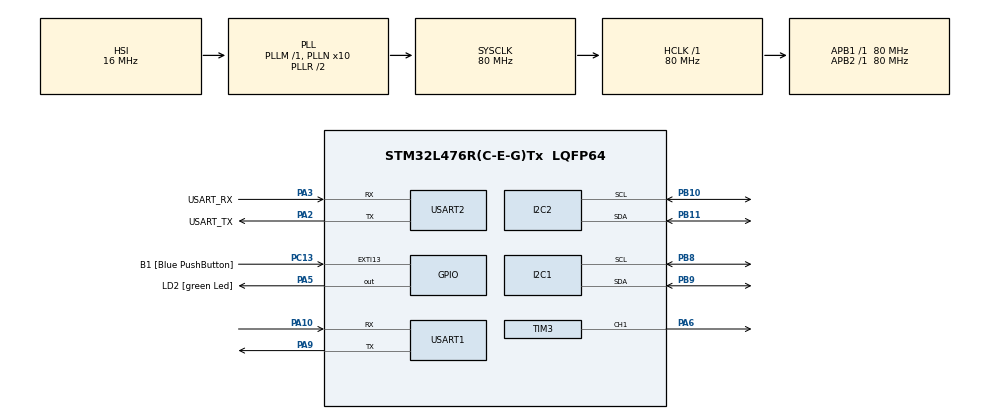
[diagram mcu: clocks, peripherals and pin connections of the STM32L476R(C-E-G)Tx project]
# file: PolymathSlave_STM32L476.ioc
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Mcu.Family=STM32L4
PA2.GPIO_PuPd=GPIO_NOPULL
VP_SYS_VS_tim6.Mode=TIM6
RCC.CortexFreq_Value=80000000
PB10.Mode=I2C
NVIC.TIM6_DAC_IRQn=true\:0\:0\:false\:false\:true\:false\:false\:true
PH0-OSC_IN\ (PH0).Signal=RCC_OSC_IN
PA3.GPIO_PuPd=GPIO_NOPULL
Dma.TIM3_CH1/TRIG.0.MemDataAlignment=DMA_MDATAALIGN_HALFWORD
I2C2.Timing=0x10909CEC
PA2.GPIO_Speed=GPIO_SPEED_FREQ_VERY_HIGH
PC13.GPIO_Label=B1 [Blue PushButton]
PA3.GPIO_Speed=GPIO_SPEED_FREQ_VERY_HIGH
PB11.Signal=I2C2_SDA
RCC.SYSCLKSource=RCC_SYSCLKSOURCE_PLLCLK
ProjectManager.StackSize=0x400
PB3\ (JTDO-TRACESWO).Signal=SYS_JTDO-SWO
PA14\ (JTCK-SWCLK).Signal=SYS_JTCK-SWCLK
RCC.HCLKFreq_Value=80000000
RCC.APB2TimFreq_Value=80000000
TIM3.Period=100 - 1
FREERTOS.configUSE_MALLOC_FAILED_HOOK=1
RCC.AHBFreq_Value=80000000
RCC.PREFETCH_ENABLE=1
TIM3.Channel-PWM\ Generation1\ CH1=TIM_CHANNEL_1
RCC.HSE_VALUE=8000000
USART2.VirtualMode-Asynchronous=VM_ASYNC
PA6.GPIO_PuPd=GPIO_PULLDOWN
Dma.TIM3_CH1/TRIG.0.PeriphDataAlignment=DMA_PDATAALIGN_HALFWORD
PA5.GPIO_PuPd=GPIO_NOPULL
Dma.TIM3_CH1/TRIG.0.Priority=DMA_PRIORITY_VERY_HIGH
PC13.GPIO_PuPd=GPIO_NOPULL
SH.S_TIM3_CH1.0=TIM3_CH1,PWM Generation1 CH1
VP_FREERTOS_VS_CMSIS_V1.Mode=CMSIS_V1
FREERTOS.configTOTAL_HEAP_SIZE=10000
Mcu.Package=LQFP64
PB9.Signal=I2C1_SDA
PA6.Signal=S_TIM3_CH1
NVIC.TimeBase=TIM6_DAC_IRQn
PA2.GPIO_Label=USART_TX
NVIC.TimeBaseIP=TIM6
PA10.Signal=USART1_RX
RCC.APB1TimFreq_Value=80000000
PA13\ (JTMS-SWDIO).Signal=SYS_JTMS-SWDIO
Dma.Request0=TIM3_CH1/TRIG
VP_TIM3_VS_ClockSourceINT.Mode=Internal
PA3.Signal=USART2_RX
PA2.GPIO_Mode=GPIO_MODE_AF_PP
RCC.MSI_VALUE=4000000
RCC.PLLSourceVirtual=RCC_PLLSOURCE_HSI
PA14\ (JTCK-SWCLK).Mode=Serial_Wire
NVIC.DMA1_Channel6_IRQn=true\:5\:0\:false\:false\:true\:true\:false\:true
FREERTOS.Tasks01=defaultTask,0,256,StartDefaultTask,Default,NULL,Dynamic,NULL,NULL
PA10.Mode=Asynchronous
PC13.Signal=GPXTI13
FREERTOS.INCLUDE_vTaskDelayUntil=1
FREERTOS.configCHECK_FOR_STACK_OVERFLOW=2
Dma.TIM3_CH1/TRIG.0.PeriphInc=DMA_PINC_DISABLE
Dma.TIM3_CH1/TRIG.0.MemInc=DMA_MINC_ENABLE
PC15-OSC32_OUT\ (PC15).Signal=RCC_OSC32_OUT
PA14\ (JTCK-SWCLK).GPIO_Label=TCK
PB3\ (JTDO-TRACESWO).GPIO_Label=SWO
PH1-OSC_OUT\ (PH1).Signal=RCC_OSC_OUT
USART1.VirtualMode-Asynchronous=VM_ASYNC
PA3.Mode=Asynchronous
PA9.Mode=Asynchronous
PB11.Mode=I2C
ProjectManager.TargetToolchain=STM32CubeIDE
PA3.GPIO_Mode=GPIO_MODE_AF_PP
PB9.Mode=I2C
PA9.Signal=USART1_TX
I2C1.Timing=0x10909CEC
RCC.USBFreq_Value=64000000
RCC.LSE_VALUE=32768
PB10.Signal=I2C2_SCL
PA5.Signal=GPIO_Output
board=NUCLEO-L476RG
RCC.VCOOutputFreq_Value=160000000
RCC.APB2Freq_Value=80000000
PA13\ (JTMS-SWDIO).GPIO_Label=TMS
PA5.GPIO_ModeDefaultOutputPP=GPIO_MODE_OUTPUT_PP
RCC.ADCFreq_Value=64000000
Mcu.Name=STM32L476R(C-E-G)Tx
PA2.Signal=USART2_TX
Dma.TIM3_CH1/TRIG.0.Mode=DMA_NORMAL
PA13\ (JTMS-SWDIO).Mode=Serial_Wire
RCC.SYSCLKFreq_VALUE=80000000
PA5.GPIO_Label=LD2 [green Led]
PC13.GPIO_ModeDefaultEXTI=GPIO_MODE_IT_FALLING
PC14-OSC32_IN\ (PC14).Signal=RCC_OSC32_IN
Dma.TIM3_CH1/TRIG.0.Direction=DMA_MEMORY_TO_PERIPH
ProjectManager.HeapSize=0x200
RCC.HSI_VALUE=16000000
PA5.GPIO_Speed=GPIO_SPEED_FREQ_LOW
NVIC.PriorityGroup=NVIC_PRIORITYGROUP_4
Dma.TIM3_CH1/TRIG.0.Instance=DMA1_Channel6
RCC.PLLN=10
PB8.Mode=I2C
PA2.Mode=Asynchronous
PB8.Signal=I2C1_SCL
RCC.APB1Freq_Value=80000000
PA3.GPIO_Label=USART_RX

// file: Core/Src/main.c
/* USER CODE BEGIN Header */
/**
  ******************************************************************************
  * @file           : main.c
  * @brief          : Main program body
  ******************************************************************************
  * @attention
  *
  * <h2><center>&copy; Copyright (c) 2021 STMicroelectronics.
  * All rights reserved.</center></h2>
  *
  * This software component is licensed by ST under BSD 3-Clause license,
  * the "License"; You may not use this file except in compliance with the
  * License. You may obtain a copy of the License at:
  *                        opensource.org/licenses/BSD-3-Clause
  *
  ******************************************************************************
  */
/* USER CODE END Header */
#include "main.h"
#include "cmsis_os.h"

/* USER CODE BEGIN Includes */
#include <stdbool.h>
#include <stdio.h>
#include <string.h>
#include <FreeRTOS.h>
#include <task.h>

#include "bme680_helper.h"
#include "pm_protocol.h"
#include "sensor_config.h"
#include "ws2812_led.h"
/* USER CODE END Includes */

/* USER CODE BEGIN PD */
#define LED_DEFAULT_BRIGHTNESS (15u)
/* USER CODE END PD */

I2C_HandleTypeDef hi2c1;
I2C_HandleTypeDef hi2c2;

TIM_HandleTypeDef htim3;
DMA_HandleTypeDef hdma_tim3_ch1_trig;

UART_HandleTypeDef huart1;
UART_HandleTypeDef huart2;

osThreadId defaultTaskHandle;

void SystemClock_Config(void);
static void MX_GPIO_Init(void);
static void MX_DMA_Init(void);
static void MX_USART2_UART_Init(void);
static void MX_I2C1_Init(void);
static void MX_USART1_UART_Init(void);
static void MX_I2C2_Init(void);
static void MX_TIM3_Init(void);
void StartDefaultTask(void const * argument);

/* USER CODE BEGIN 0 */
void debug(const char * string) {
	uint32_t length = strlen(string);
	HAL_UART_Transmit(&huart2,(uint8_t *) string, length, 5);
}

static int pmSlaveUartTx(const uint8_t * data, uint8_t numBytes) {
	if ((HAL_UART_Transmit(&huart1, (uint8_t *)data, numBytes, 5) == HAL_OK)) {
		return numBytes;
	}
	return 0;
}

static int pmSlaveUartRx(uint8_t * data, uint8_t numBytes) {
	if ((HAL_UART_Receive(&huart1, data, numBytes, 500) == HAL_OK)) {
		return numBytes;
	}
	return 0;
}

static pmProtocolContext_t slave_uart;
static pmCoreUartDriver_t slave_uart_drivers = { .tx = pmSlaveUartTx, .rx =
		pmSlaveUartRx, };

static const ws2812Config_t led_config =
{
	.timModule = &htim3,
	.timChannel = TIM_CHANNEL_1
};
/* USER CODE END 0 */

int main(void)
{

  /* MCU Configuration--------------------------------------------------------*/

  /* Reset of all peripherals, Initializes the Flash interface and the Systick. */
  HAL_Init();

  /* Configure the system clock */
  SystemClock_Config();

  /* Initialize all configured peripherals */
  MX_GPIO_Init();
  MX_DMA_Init();
  MX_USART2_UART_Init();
  MX_I2C1_Init();
  MX_USART1_UART_Init();
  MX_I2C2_Init();
  MX_TIM3_Init();
  /* USER CODE BEGIN 2 */
  WS2812_Init(&led_config);
  WS2812_Send(0, 0, LED_DEFAULT_BRIGHTNESS); // Set the colour to blue indicating we haven't paired with the master.

  if (PM_PROTOCOL_SUCCESS != pmProtocolInit(&slave_uart_drivers, &slave_uart)) {
    debug("Error! PM protocol initialized failed\n");
  }
  if (BME680_OK != bme680_initialize(&bme_init_array[BME_I2C1])) {
    debug("Error! BME680 initialized failed\r\n");
  }

  /* USER CODE END 2 */

  /* Create the thread(s) */
  /* definition and creation of defaultTask */
  osThreadDef(defaultTask, StartDefaultTask, osPriorityNormal, 0, 256);
  defaultTaskHandle = osThreadCreate(osThread(defaultTask), NULL);

  /* USER CODE BEGIN RTOS_THREADS */
  /* add threads, ... */
  char *SOFTWARE_VERSION_STR = "polymath-iot/slave-app";

  debug( "##########################\r\n");
  debug("Polymath IoT Application (Slave)\r\n");
  debug( "SW Version: ");
  debug( SOFTWARE_VERSION_STR );
  debug( "\r\n" );
  debug( __DATE__ " " __TIME__ "\r\n" );
  debug( "##########################\r\n\r\n");
  /* USER CODE END RTOS_THREADS */

  /* Start scheduler */
  osKernelStart();

  /* We should never get here as control is now taken by the scheduler */
  /* Infinite loop */
  while (1)
  {

  }
}

void SystemClock_Config(void)
{
  RCC_OscInitTypeDef RCC_OscInitStruct = {0};
  RCC_ClkInitTypeDef RCC_ClkInitStruct = {0};
  RCC_PeriphCLKInitTypeDef PeriphClkInit = {0};

  /** Initializes the RCC Oscillators according to the specified parameters
  * in the RCC_OscInitTypeDef structure.
  */
  RCC_OscInitStruct.OscillatorType = RCC_OSCILLATORTYPE_HSI;
  RCC_OscInitStruct.HSIState = RCC_HSI_ON;
  RCC_OscInitStruct.HSICalibrationValue = RCC_HSICALIBRATION_DEFAULT;
  RCC_OscInitStruct.PLL.PLLState = RCC_PLL_ON;
  RCC_OscInitStruct.PLL.PLLSource = RCC_PLLSOURCE_HSI;
  RCC_OscInitStruct.PLL.PLLM = 1;
  RCC_OscInitStruct.PLL.PLLN = 10;
  RCC_OscInitStruct.PLL.PLLP = RCC_PLLP_DIV7;
  RCC_OscInitStruct.PLL.PLLQ = RCC_PLLQ_DIV2;
  RCC_OscInitStruct.PLL.PLLR = RCC_PLLR_DIV2;
  if (HAL_RCC_OscConfig(&RCC_OscInitStruct) != HAL_OK)
  {
    Error_Handler();
  }
  /** Initializes the CPU, AHB and APB buses clocks
  */
  RCC_ClkInitStruct.ClockType = RCC_CLOCKTYPE_HCLK|RCC_CLOCKTYPE_SYSCLK
                              |RCC_CLOCKTYPE_PCLK1|RCC_CLOCKTYPE_PCLK2;
  RCC_ClkInitStruct.SYSCLKSource = RCC_SYSCLKSOURCE_PLLCLK;
  RCC_ClkInitStruct.AHBCLKDivider = RCC_SYSCLK_DIV1;
  RCC_ClkInitStruct.APB1CLKDivider = RCC_HCLK_DIV1;
  RCC_ClkInitStruct.APB2CLKDivider = RCC_HCLK_DIV1;

  if (HAL_RCC_ClockConfig(&RCC_ClkInitStruct, FLASH_LATENCY_4) != HAL_OK)
  {
    Error_Handler();
  }
  PeriphClkInit.PeriphClockSelection = RCC_PERIPHCLK_USART1|RCC_PERIPHCLK_USART2
                              |RCC_PERIPHCLK_I2C1|RCC_PERIPHCLK_I2C2;
  PeriphClkInit.Usart1ClockSelection = RCC_USART1CLKSOURCE_PCLK2;
  PeriphClkInit.Usart2ClockSelection = RCC_USART2CLKSOURCE_PCLK1;
  PeriphClkInit.I2c1ClockSelection = RCC_I2C1CLKSOURCE_PCLK1;
  PeriphClkInit.I2c2ClockSelection = RCC_I2C2CLKSOURCE_PCLK1;
  if (HAL_RCCEx_PeriphCLKConfig(&PeriphClkInit) != HAL_OK)
  {
    Error_Handler();
  }
  /** Configure the main internal regulator output voltage
  */
  if (HAL_PWREx_ControlVoltageScaling(PWR_REGULATOR_VOLTAGE_SCALE1) != HAL_OK)
  {
    Error_Handler();
  }
}

static void MX_I2C1_Init(void)
{

  hi2c1.Instance = I2C1;
  hi2c1.Init.Timing = 0x10909CEC;
  hi2c1.Init.OwnAddress1 = 0;
  hi2c1.Init.AddressingMode = I2C_ADDRESSINGMODE_7BIT;
  hi2c1.Init.DualAddressMode = I2C_DUALADDRESS_DISABLE;
  hi2c1.Init.OwnAddress2 = 0;
  hi2c1.Init.OwnAddress2Masks = I2C_OA2_NOMASK;
  hi2c1.Init.GeneralCallMode = I2C_GENERALCALL_DISABLE;
  hi2c1.Init.NoStretchMode = I2C_NOSTRETCH_DISABLE;
  if (HAL_I2C_Init(&hi2c1) != HAL_OK)
  {
    Error_Handler();
  }
  /** Configure Analogue filter
  */
  if (HAL_I2CEx_ConfigAnalogFilter(&hi2c1, I2C_ANALOGFILTER_ENABLE) != HAL_OK)
  {
    Error_Handler();
  }
  /** Configure Digital filter
  */
  if (HAL_I2CEx_ConfigDigitalFilter(&hi2c1, 0) != HAL_OK)
  {
    Error_Handler();
  }

}

static void MX_I2C2_Init(void)
{

  hi2c2.Instance = I2C2;
  hi2c2.Init.Timing = 0x10909CEC;
  hi2c2.Init.OwnAddress1 = 0;
  hi2c2.Init.AddressingMode = I2C_ADDRESSINGMODE_7BIT;
  hi2c2.Init.DualAddressMode = I2C_DUALADDRESS_DISABLE;
  hi2c2.Init.OwnAddress2 = 0;
  hi2c2.Init.OwnAddress2Masks = I2C_OA2_NOMASK;
  hi2c2.Init.GeneralCallMode = I2C_GENERALCALL_DISABLE;
  hi2c2.Init.NoStretchMode = I2C_NOSTRETCH_DISABLE;
  if (HAL_I2C_Init(&hi2c2) != HAL_OK)
  {
    Error_Handler();
  }
  /** Configure Analogue filter
  */
  if (HAL_I2CEx_ConfigAnalogFilter(&hi2c2, I2C_ANALOGFILTER_ENABLE) != HAL_OK)
  {
    Error_Handler();
  }
  /** Configure Digital filter
  */
  if (HAL_I2CEx_ConfigDigitalFilter(&hi2c2, 0) != HAL_OK)
  {
    Error_Handler();
  }

}

static void MX_TIM3_Init(void)
{

  TIM_ClockConfigTypeDef sClockSourceConfig = {0};
  TIM_MasterConfigTypeDef sMasterConfig = {0};
  TIM_OC_InitTypeDef sConfigOC = {0};

  htim3.Instance = TIM3;
  htim3.Init.Prescaler = 0;
  htim3.Init.CounterMode = TIM_COUNTERMODE_UP;
  htim3.Init.Period = 100 - 1;
  htim3.Init.ClockDivision = TIM_CLOCKDIVISION_DIV1;
  htim3.Init.AutoReloadPreload = TIM_AUTORELOAD_PRELOAD_DISABLE;
  if (HAL_TIM_Base_Init(&htim3) != HAL_OK)
  {
    Error_Handler();
  }
  sClockSourceConfig.ClockSource = TIM_CLOCKSOURCE_INTERNAL;
  if (HAL_TIM_ConfigClockSource(&htim3, &sClockSourceConfig) != HAL_OK)
  {
    Error_Handler();
  }
  if (HAL_TIM_PWM_Init(&htim3) != HAL_OK)
  {
    Error_Handler();
  }
  sMasterConfig.MasterOutputTrigger = TIM_TRGO_RESET;
  sMasterConfig.MasterSlaveMode = TIM_MASTERSLAVEMODE_DISABLE;
  if (HAL_TIMEx_MasterConfigSynchronization(&htim3, &sMasterConfig) != HAL_OK)
  {
    Error_Handler();
  }
  sConfigOC.OCMode = TIM_OCMODE_PWM1;
  sConfigOC.Pulse = 0;
  sConfigOC.OCPolarity = TIM_OCPOLARITY_HIGH;
  sConfigOC.OCFastMode = TIM_OCFAST_DISABLE;
  if (HAL_TIM_PWM_ConfigChannel(&htim3, &sConfigOC, TIM_CHANNEL_1) != HAL_OK)
  {
    Error_Handler();
  }
  HAL_TIM_MspPostInit(&htim3);

}

static void MX_USART1_UART_Init(void)
{

  huart1.Instance = USART1;
  huart1.Init.BaudRate = 115200;
  huart1.Init.WordLength = UART_WORDLENGTH_8B;
  huart1.Init.StopBits = UART_STOPBITS_1;
  huart1.Init.Parity = UART_PARITY_NONE;
  huart1.Init.Mode = UART_MODE_TX_RX;
  huart1.Init.HwFlowCtl = UART_HWCONTROL_NONE;
  huart1.Init.OverSampling = UART_OVERSAMPLING_16;
  huart1.Init.OneBitSampling = UART_ONE_BIT_SAMPLE_DISABLE;
  huart1.AdvancedInit.AdvFeatureInit = UART_ADVFEATURE_NO_INIT;
  if (HAL_UART_Init(&huart1) != HAL_OK)
  {
    Error_Handler();
  }

}

static void MX_USART2_UART_Init(void)
{

  huart2.Instance = USART2;
  huart2.Init.BaudRate = 115200;
  huart2.Init.WordLength = UART_WORDLENGTH_8B;
  huart2.Init.StopBits = UART_STOPBITS_1;
  huart2.Init.Parity = UART_PARITY_NONE;
  huart2.Init.Mode = UART_MODE_TX_RX;
  huart2.Init.HwFlowCtl = UART_HWCONTROL_NONE;
  huart2.Init.OverSampling = UART_OVERSAMPLING_16;
  huart2.Init.OneBitSampling = UART_ONE_BIT_SAMPLE_DISABLE;
  huart2.AdvancedInit.AdvFeatureInit = UART_ADVFEATURE_NO_INIT;
  if (HAL_UART_Init(&huart2) != HAL_OK)
  {
    Error_Handler();
  }

}

static void MX_DMA_Init(void)
{

  /* DMA controller clock enable */
  __HAL_RCC_DMA1_CLK_ENABLE();

  /* DMA interrupt init */
  /* DMA1_Channel6_IRQn interrupt configuration */
  HAL_NVIC_SetPriority(DMA1_Channel6_IRQn, 5, 0);
  HAL_NVIC_EnableIRQ(DMA1_Channel6_IRQn);

}

static void MX_GPIO_Init(void)
{
  GPIO_InitTypeDef GPIO_InitStruct = {0};

  /* GPIO Ports Clock Enable */
  __HAL_RCC_GPIOC_CLK_ENABLE();
  __HAL_RCC_GPIOH_CLK_ENABLE();
  __HAL_RCC_GPIOA_CLK_ENABLE();
  __HAL_RCC_GPIOB_CLK_ENABLE();

  /*Configure GPIO pin Output Level */
  HAL_GPIO_WritePin(LD2_GPIO_Port, LD2_Pin, GPIO_PIN_RESET);

  /*Configure GPIO pin : B1_Pin */
  GPIO_InitStruct.Pin = B1_Pin;
  GPIO_InitStruct.Mode = GPIO_MODE_IT_FALLING;
  GPIO_InitStruct.Pull = GPIO_NOPULL;
  HAL_GPIO_Init(B1_GPIO_Port, &GPIO_InitStruct);

  /*Configure GPIO pin : LD2_Pin */
  GPIO_InitStruct.Pin = LD2_Pin;
  GPIO_InitStruct.Mode = GPIO_MODE_OUTPUT_PP;
  GPIO_InitStruct.Pull = GPIO_NOPULL;
  GPIO_InitStruct.Speed = GPIO_SPEED_FREQ_LOW;
  HAL_GPIO_Init(LD2_GPIO_Port, &GPIO_InitStruct);

}

void StartDefaultTask(void const * argument)
{
  /* USER CODE BEGIN 5 */
#define MAIN_TICK_RATE_ms (5u)
#define LED_BLINK_RATE_ms (1000u)

#define LED_PORT LD2_GPIO_Port
#define LED_PIN  LD2_Pin

#define COLOUR_TO_HEX(r,g,b) ((r << 16) | (g << 8) | (b))
#define R_FROM_HEX(hex) ((hex >> 16) & 0xFF)
#define G_FROM_HEX(hex) ((hex >> 8) & 0xFF)
#define B_FROM_HEX(hex) (hex & 0xFF)

#define COLOUR_OFF     COLOUR_TO_HEX(0, 0, 0)
#define COLOUR_PAIRING COLOUR_TO_HEX(255, 212, 128)
#define COLOUR_NORMAL  COLOUR_TO_HEX(128, 255, 0)
#define COLOUR_ERROR   COLOUR_TO_HEX(255, 0, 0)

  TickType_t lastLedTicks = 0;
  bool toggle = true;
  uint32_t targetColour = COLOUR_PAIRING;
  uint32_t currentColour = COLOUR_OFF;
  /* Infinite loop */
  for(;;)
  {
    TickType_t nowTicks = xTaskGetTickCount();
	uint32_t nowTicks_ms = nowTicks * 1000 / configTICK_RATE_HZ;
	pmProtocolPeriodic(nowTicks_ms, &slave_uart);

	if ((nowTicks - lastLedTicks) > pdMS_TO_TICKS(LED_BLINK_RATE_ms))
	{
		HAL_GPIO_TogglePin(LED_PORT, LED_PIN);
		lastLedTicks = nowTicks;

		if (!toggle || (currentColour == COLOUR_OFF))
		{
			WS2812_Send(R_FROM_HEX(targetColour), G_FROM_HEX(targetColour), B_FROM_HEX(targetColour));
			currentColour = targetColour;
		}
		else
		{
			WS2812_Send(R_FROM_HEX(COLOUR_OFF), G_FROM_HEX(COLOUR_OFF), B_FROM_HEX(COLOUR_OFF));
			currentColour = COLOUR_OFF;
		}
	}
#if 0
	char buffer[255];
	for (int ix = 0; ix < NUM_SENSOR_IDS; ix++)
	{
		int32_t reading;
		if (SENSOR_SUCCESS != sensorTable[ix].drivers->getReading(&reading, 0, sensorTable[ix].params))
		{
			debug("Error: Failed to read data from sensor.\r\n");
			reading = 0;
		}
		else
		{
			sprintf(buffer, "Successfully read sensor # %d, data is %d.\r\n", ix, (int)reading);
			debug(buffer);
		}
	}
#endif

	// Check for reads on the slave node.
	pmCmdPayloadDefinition_t slaveRx;

	if (PM_PROTOCOL_SUCCESS == pmProtocolRead(&slaveRx, &slave_uart))
	{
		debug("Successfully read a payload on the slave node. Responding\r\n");
		switch (slaveRx.commandCode & 0x7F)
		{
			case PM_CMD_PROTOCOL_ID:
			{
				// Transmit the current protocol ID.
				pmCmdPayloadDefinition_t slaveTx;
				slaveTx.commandCode = slaveRx.commandCode | PM_PROTOCOL_RESP_MASK;
				slaveTx.protocolInfo.protocolIdentifier = PM_PROTOCOL_IDENTIFIER;

				if (PM_PROTOCOL_SUCCESS != pmProtocolSend(&slaveTx, &slave_uart))
				{
					debug("Error: Failed to transmit response from slave.\r\n");
				}
				break;
			}
			case PM_CMD_WRITE_STATUS:
			{
				if (slaveRx.writeStatus.status == PM_RET_SUCCESS)
				{
			      //WS2812_Send(0, LED_DEFAULT_BRIGHTNESS, 0); // Set the colour to green indicating we paired successfully.
				  targetColour = COLOUR_NORMAL;
				  toggle = false;
				}
				else
				{
			      //WS2812_Send(LED_DEFAULT_BRIGHTNESS, 0, 0); // Set the colour to red indicating an error has occurred.
				  targetColour = COLOUR_ERROR;
				  toggle = true;
				}

				// Echo back the status.
				pmCmdPayloadDefinition_t slaveTx;
				slaveTx.commandCode = slaveRx.commandCode | PM_PROTOCOL_RESP_MASK;
				slaveTx.writeStatus.status = slaveRx.writeStatus.status;

				if (PM_PROTOCOL_SUCCESS != pmProtocolSend(&slaveTx, &slave_uart))
				{
					debug("Error: Failed to transmit response from slave.\r\n");
				}
				break;
			}
			case PM_CMD_GET_SENSORS:
			{
				// Respond with some dummy data.
				pmCmdPayloadDefinition_t slaveTx;
				slaveTx.commandCode = slaveRx.commandCode | PM_PROTOCOL_RESP_MASK;
				slaveTx.getSensors.numSensors = NUM_SENSOR_IDS;
				for (int ix = 0; ix < slaveTx.getSensors.numSensors; ix++)
				{
					slaveTx.getSensors.sensors[ix].sensorId = ix;

					int32_t reading;
					if (SENSOR_SUCCESS != sensorTable[ix].drivers->getReading(&reading, 0, sensorTable[ix].params))
					{
						debug("Error: Failed to read data from sensor.\r\n");
						reading = 0;
					}
					slaveTx.getSensors.sensors[ix].data = reading;
				}

				if (PM_PROTOCOL_SUCCESS != pmProtocolSend(&slaveTx, &slave_uart))
				{
					debug("Error: Failed to transmit response from slave.\r\n");
				}
				break;
			}
			default:
				debug("Received unhandled command on the slave.\r\n");
				break;
		}
	}

	//vTaskDelayUntil(&lastWakeupTicks, pdMS_TO_TICKS(MAIN_TICK_RATE_ms));
	taskYIELD();
  }
  /* USER CODE END 5 */
}

 /**
  * @brief  Period elapsed callback in non blocking mode
  * @note   This function is called  when TIM6 interrupt took place, inside
  * HAL_TIM_IRQHandler(). It makes a direct call to HAL_IncTick() to increment
  * a global variable "uwTick" used as application time base.
  * @param  htim : TIM handle
  * @retval None
  */
void HAL_TIM_PeriodElapsedCallback(TIM_HandleTypeDef *htim)
{
  if (htim->Instance == TIM6) {
    HAL_IncTick();
  }
}

void Error_Handler(void)
{
  __disable_irq();
  while (1)
  {
  }
}

/************************ (C) COPYRIGHT STMicroelectronics *****END OF FILE****/

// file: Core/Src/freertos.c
/* USER CODE BEGIN Header */
/**
  ******************************************************************************
  * File Name          : freertos.c
  * Description        : Code for freertos applications
  ******************************************************************************
  * @attention
  *
  * <h2><center>&copy; Copyright (c) 2021 STMicroelectronics.
  * All rights reserved.</center></h2>
  *
  * This software component is licensed by ST under Ultimate Liberty license
  * SLA0044, the "License"; You may not use this file except in compliance with
  * the License. You may obtain a copy of the License at:
  *                             www.st.com/SLA0044
  *
  ******************************************************************************
  */
/* USER CODE END Header */

#include "FreeRTOS.h"
#include "task.h"
#include "main.h"

/* GetIdleTaskMemory prototype (linked to static allocation support) */
void vApplicationGetIdleTaskMemory( StaticTask_t **ppxIdleTaskTCBBuffer, StackType_t **ppxIdleTaskStackBuffer, uint32_t *pulIdleTaskStackSize );

/* Hook prototypes */
void vApplicationStackOverflowHook(xTaskHandle xTask, signed char *pcTaskName);
void vApplicationMallocFailedHook(void);

/* USER CODE BEGIN 4 */
__weak void vApplicationStackOverflowHook(xTaskHandle xTask, signed char *pcTaskName)
{
   /* Run time stack overflow checking is performed if
   configCHECK_FOR_STACK_OVERFLOW is defined to 1 or 2. This hook function is
   called if a stack overflow is detected. */
	volatile int overflowOccurred = 0;
	while (1)
	{
		overflowOccurred++;
	}
}
/* USER CODE END 4 */

/* USER CODE BEGIN 5 */
__weak void vApplicationMallocFailedHook(void)
{
   /* vApplicationMallocFailedHook() will only be called if
   configUSE_MALLOC_FAILED_HOOK is set to 1 in FreeRTOSConfig.h. It is a hook
   function that will get called if a call to pvPortMalloc() fails.
   pvPortMalloc() is called internally by the kernel whenever a task, queue,
   timer or semaphore is created. It is also called by various parts of the
   demo application. If heap_1.c or heap_2.c are used, then the size of the
   heap available to pvPortMalloc() is defined by configTOTAL_HEAP_SIZE in
   FreeRTOSConfig.h, and the xPortGetFreeHeapSize() API function can be used
   to query the size of free heap space that remains (although it does not
   provide information on how the remaining heap might be fragmented). */

	volatile int mallocFailureOccurred = 0;
	while (1)
	{
		mallocFailureOccurred++;
	}
}
/* USER CODE END 5 */

/* USER CODE BEGIN GET_IDLE_TASK_MEMORY */
static StaticTask_t xIdleTaskTCBBuffer;
static StackType_t xIdleStack[configMINIMAL_STACK_SIZE];

void vApplicationGetIdleTaskMemory( StaticTask_t **ppxIdleTaskTCBBuffer, StackType_t **ppxIdleTaskStackBuffer, uint32_t *pulIdleTaskStackSize )
{
  *ppxIdleTaskTCBBuffer = &xIdleTaskTCBBuffer;
  *ppxIdleTaskStackBuffer = &xIdleStack[0];
  *pulIdleTaskStackSize = configMINIMAL_STACK_SIZE;
  /* place for user code */
}
/* USER CODE END GET_IDLE_TASK_MEMORY */

/************************ (C) COPYRIGHT STMicroelectronics *****END OF FILE****/
